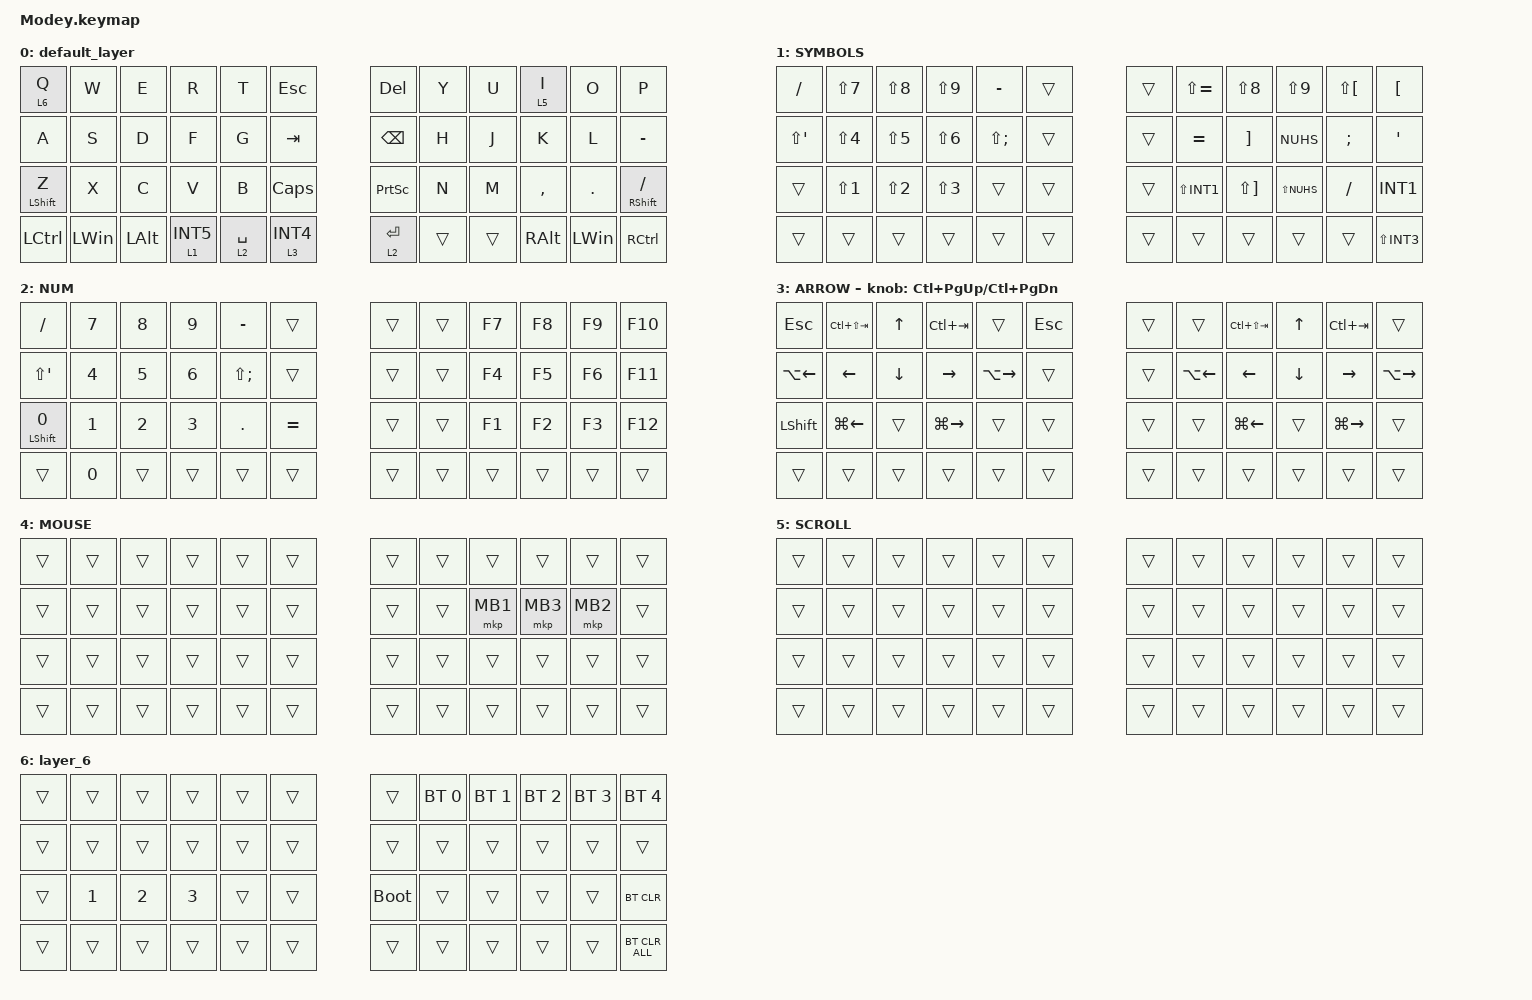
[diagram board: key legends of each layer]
#include <behaviors.dtsi>
#include <dt-bindings/zmk/bt.h>
#include <dt-bindings/zmk/keys.h>
#include <dt-bindings/zmk/pointing.h>

#define MOUSE 4
#define SCROLL 5
#define NUM 6
#define JP_ZKHK  GRAVE        // Zenkaku ↔ Hankaku ↔ Kanji (半角 ↔ 全角 ↔ 漢字)
#define JP_MINUS MINUS        // -
#define JP_CARET EQUAL        // ^
#define JP_YEN   INT3         // ¥
#define JP_AT    LBKT         // @
#define JP_LBKT  RBKT         // [
#define JP_EISU  CAPS         // Eisū (英数)
#define JP_SEMI  SEMI         // ;
#define JP_COLON SQT          // :
#define JP_RBKT  NUHS         // ]
#define JP_COMMA COMMA        // ,
#define JP_DOT   DOT          // .
#define JP_SLASH SLASH        // /
#define JP_BSLH  INT1         // (backslash)
#define JP_MHEN  INT5         // Muhenkan (無変換)
#define JP_HENK  INT4         // Henkan (変換)
#define JP_KANA  INT2         // Katakana ↔ Hiragana ↔ Rōmaji (カタカナ ↔ ひらがな ↔ ローマ字)
#define JP_EXCL  LS(N1)       // !
#define JP_DQT   LS(N2)       // "
#define JP_HASH  LS(N3)       // #
#define JP_DLLR  LS(N4)       // $
#define JP_PRCNT LS(N5)       // %
#define JP_AMPS  LS(N6)       // &
#define JP_SQT   LS(N7)       // '
#define JP_LPAR  LS(N8)       // (
#define JP_RPAR  LS(N9)       // )
#define JP_EQUAL LS(JP_MINUS) // =
#define JP_TILDE LS(JP_CARET) // ~
#define JP_PIPE  LS(JP_YEN)   // |
#define JP_GRAVE LS(JP_AT)    // `
#define JP_LBRC  LS(JP_LBKT)  // {
#define JP_CAPS  LS(JP_EISU)  // Caps Lock
#define JP_PLUS  LS(JP_SEMI)  // +
#define JP_ASTRK LS(JP_COLON) // *
#define JP_RBRC  LS(JP_RBKT)  // }
#define JP_LT    LS(JP_COMMA) // <
#define JP_RT    LS(JP_DOT)   // >
#define JP_QMARK LS(JP_SLASH) // ?
#define JP_UNDER LS(JP_BSLH)  // _

&mt {
    flavor = "balanced";
    quick-tap-ms = <0>;
};

/ {
    combos {
        compatible = "zmk,combos";

        tab {
            bindings = <&kp TAB>;
            key-positions = <11 12>;
        };

        shift_tab {
            bindings = <&kp LS(TAB)>;
            key-positions = <12 13>;
        };

        delete {
            bindings = <&kp DEL>;
            key-positions = <11 10>;
        };

        double_quotation {
            bindings = <&kp DOUBLE_QUOTES>;
            key-positions = <20 21>;
        };

        eq {
            bindings = <&kp EQUAL>;
            key-positions = <24 25>;
        };

        backspace {
            bindings = <&kp BACKSPACE>;
            key-positions = <22 23>;
        };
    };

    macros {
        to_layer_0: to_layer_0 {
            compatible = "zmk,behavior-macro-one-param";
            #binding-cells = <1>;
            bindings = <&to 0 &macro_param_1to1 &kp MACRO_PLACEHOLDER>;
            label = "TO_LAYER_0";
        };
    };

    behaviors {
        lt_to_layer_0: lt_to_layer_0 {
            compatible = "zmk,behavior-hold-tap";
            label = "LAYER_TAP_TO_0";
            bindings = <&mo>, <&to_layer_0>;

            #binding-cells = <2>;
            tapping-term-ms = <200>;
        };
    };

    keymap {
        compatible = "zmk,keymap";

        default_layer {
            bindings = <
&lt_to_layer_0 6 Q  &kp W         &kp E         &kp R                  &kp T        &kp ESC                  &kp DEL          &kp Y   &kp U   &lt 5 I        &kp O         &kp P
&kp A               &kp S         &kp D         &kp F                  &kp G        &kp TAB                  &kp BACKSPACE    &kp H   &kp J   &kp K          &kp L         &kp MINUS
&mt LEFT_SHIFT Z    &kp X         &kp C         &kp V                  &kp B        &kp CAPS                 &kp PRINTSCREEN  &kp N   &kp M   &kp COMMA      &kp DOT       &mt RIGHT_SHIFT SLASH
&kp LCTRL           &kp LEFT_WIN  &kp LEFT_ALT  &lt_to_layer_0 1 INT5  &lt 2 SPACE  &lt_to_layer_0 3 INT4    &lt 2 ENTER      &trans  &trans  &kp RIGHT_ALT  &kp LEFT_WIN  &kp RCTRL
            >;
        };

        SYMBOLS {
            bindings = <
&kp SLASH    &kp LS(N7)  &kp LS(N8)  &kp LS(N9)  &kp MINUS     &trans    &trans  &kp LS(EQUAL)  &kp LS(N8)    &kp LS(N9)    &kp LS(LBKT)  &kp LBKT
&kp LS(SQT)  &kp LS(N4)  &kp LS(N5)  &kp LS(N6)  &kp LS(SEMI)  &trans    &trans  &kp EQUAL      &kp RBKT      &kp NUHS      &kp SEMI      &kp SQT
&trans       &kp LS(N1)  &kp LS(N2)  &kp LS(N3)  &trans        &trans    &trans  &kp LS(INT1)   &kp LS(RBKT)  &kp LS(NUHS)  &kp SLASH     &kp INT1
&trans       &trans      &trans      &trans      &trans        &trans    &trans  &trans         &trans        &trans        &trans        &kp LS(INT3)
            >;
        };

        NUM {
            bindings = <
&kp SLASH          &kp N7  &kp N8  &kp N9  &kp MINUS     &trans       &trans  &trans  &kp F7  &kp F8  &kp F9  &kp F10
&kp LS(SQT)        &kp N4  &kp N5  &kp N6  &kp LS(SEMI)  &trans       &trans  &trans  &kp F4  &kp F5  &kp F6  &kp F11
&mt LEFT_SHIFT N0  &kp N1  &kp N2  &kp N3  &kp PERIOD    &kp EQUAL    &trans  &trans  &kp F1  &kp F2  &kp F3  &kp F12
&trans             &kp N0  &trans  &trans  &trans        &trans       &trans  &trans  &trans  &trans  &trans  &trans
            >;
        };

        ARROW {
            bindings = <
&kp ESCAPE      &kp LC(LS(TAB))     &kp UP_ARROW    &kp LC(TAB)          &trans         &kp ESC    &trans  &trans        &kp LC(LS(TAB))     &kp UP_ARROW    &kp LC(TAB)          &trans
&kp LA(LEFT)    &kp LEFT_ARROW      &kp DOWN_ARROW  &kp RIGHT_ARROW      &kp LA(RIGHT)  &trans     &trans  &kp LA(LEFT)  &kp LEFT_ARROW      &kp DOWN_ARROW  &kp RIGHT_ARROW      &kp LA(RIGHT)
&kp LEFT_SHIFT  &kp LG(LEFT_ARROW)  &trans          &kp LG(RIGHT_ARROW)  &trans         &trans     &trans  &trans        &kp LG(LEFT_ARROW)  &trans          &kp LG(RIGHT_ARROW)  &trans
&trans          &trans              &trans          &trans               &trans         &trans     &trans  &trans        &trans              &trans          &trans               &trans
            >;

            sensor-bindings = <&inc_dec_kp LC(PAGE_UP) LC(PAGE_DOWN)>;
        };

        MOUSE {
            bindings = <
&trans  &trans  &trans  &trans  &trans  &trans    &trans  &trans  &trans    &trans    &trans    &trans
&trans  &trans  &trans  &trans  &trans  &trans    &trans  &trans  &mkp MB1  &mkp MB3  &mkp MB2  &trans
&trans  &trans  &trans  &trans  &trans  &trans    &trans  &trans  &trans    &trans    &trans    &trans
&trans  &trans  &trans  &trans  &trans  &trans    &trans  &trans  &trans    &trans    &trans    &trans
            >;
        };

        SCROLL {
            bindings = <
&trans  &trans  &trans  &trans  &trans  &trans    &trans  &trans  &trans  &trans  &trans  &trans
&trans  &trans  &trans  &trans  &trans  &trans    &trans  &trans  &trans  &trans  &trans  &trans
&trans  &trans  &trans  &trans  &trans  &trans    &trans  &trans  &trans  &trans  &trans  &trans
&trans  &trans  &trans  &trans  &trans  &trans    &trans  &trans  &trans  &trans  &trans  &trans
            >;
        };

        layer_6 {
            bindings = <
&trans  &trans        &trans        &trans        &trans  &trans    &trans       &bt BT_SEL 0  &bt BT_SEL 1  &bt BT_SEL 2  &bt BT_SEL 3  &bt BT_SEL 4
&trans  &trans        &trans        &trans        &trans  &trans    &trans       &trans        &trans        &trans        &trans        &trans
&trans  &kp NUMBER_1  &kp NUMBER_2  &kp NUMBER_3  &trans  &trans    &bootloader  &trans        &trans        &trans        &trans        &bt BT_CLR
&trans  &trans        &trans        &trans        &trans  &trans    &trans       &trans        &trans        &trans        &trans        &bt BT_CLR_ALL
            >;
        };
    };
};
